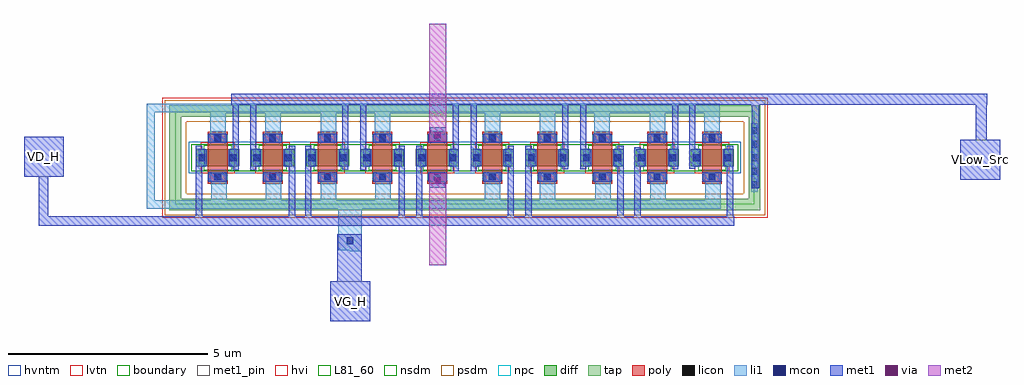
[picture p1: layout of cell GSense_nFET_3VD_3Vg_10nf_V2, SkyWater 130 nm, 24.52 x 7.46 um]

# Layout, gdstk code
import gdstk
lib = gdstk.Library(unit=1e-6, precision=1e-09)
def R(c, l, rs):  # rectangles x0, y0, x1, y1
    for r in rs: c.add(gdstk.rectangle(r[:2], r[2:], *l))
def A(c, l, x, y, w, h, nx, ny, dx, dy):  # array of equal rectangles
    R(c, l, [(x+i*dx, y+j*dy, x+i*dx+w, y+j*dy+h) for i in range(nx) for j in range(ny)])
diff = (65, 20)
tap = (65, 44)
poly = (66, 20)
licon = (66, 44)
li1 = (67, 20)
mcon = (67, 44)
met1_pin = (68, 16)
met1 = (68, 20)
via = (68, 44)
met2 = (69, 20)
hvi = (75, 20)
L81_60 = (81, 60)
nsdm = (93, 44)
psdm = (94, 20)
npc = (95, 20)
hvntm = (125, 20)
lvtn = (125, 44)
boundary = (235, 4)

sky130_fd_pr__nfet_03v3_ = lib.new_cell('sky130_fd_pr__nfet_03v3_nvt_J2JJF2')
A(sky130_fd_pr__nfet_03v3_, diff, -6.75, -0.21, 1.08, 0.42, 10, 1, 1.38, 0)
R(sky130_fd_pr__nfet_03v3_, tap, [(-7.42,-1.32,7.42,-1.03), (-7.42,-1.03,-7.13,1.03), (7.13,-1.03,7.42,1.03), (-7.42,1.03,7.42,1.32)])
A(sky130_fd_pr__nfet_03v3_, poly, -6.46, -0.65, 0.5, 1.3, 10, 1, 1.38, 0)
A(sky130_fd_pr__nfet_03v3_, licon, 7.19, -0.765, 0.17, 0.17, 1, 5, 0, 0.34)
A(sky130_fd_pr__nfet_03v3_, licon, -6.295, -0.57, 0.17, 0.17, 10, 2, 1.38, 0.97)
R(sky130_fd_pr__nfet_03v3_, licon, [(-6.69,-0.085,-6.52,0.085), (-5.9,-0.085,-5.73,0.085), (-5.31,-0.085,-5.14,0.085), (-4.52,-0.085,-4.35,0.085), (-3.93,-0.085,-3.76,0.085), (-3.14,-0.085,-2.97,0.085), (-2.55,-0.085,-2.38,0.085), (-1.76,-0.085,-1.59,0.085), (-1.17,-0.085,-1,0.085), (-0.38,-0.085,-0.21,0.085), (0.21,-0.085,0.38,0.085), (1,-0.085,1.17,0.085), (1.59,-0.085,1.76,0.085), (2.38,-0.085,2.55,0.085), (2.97,-0.085,3.14,0.085), (3.76,-0.085,3.93,0.085), (4.35,-0.085,4.52,0.085), (5.14,-0.085,5.31,0.085), (5.73,-0.085,5.9,0.085), (6.52,-0.085,6.69,0.085)])
A(sky130_fd_pr__nfet_03v3_, li1, -6.46, -0.57, 0.5, 0.17, 10, 2, 1.38, 0.97)
R(sky130_fd_pr__nfet_03v3_, li1, [(7.19,-0.86,7.36,0.86), (-6.69,-0.23,-6.52,0.23), (-5.9,-0.23,-5.73,0.23), (-5.31,-0.23,-5.14,0.23), (-4.52,-0.23,-4.35,0.23), (-3.93,-0.23,-3.76,0.23), (-3.14,-0.23,-2.97,0.23), (-2.55,-0.23,-2.38,0.23), (-1.76,-0.23,-1.59,0.23), (-1.17,-0.23,-1,0.23), (-0.38,-0.23,-0.21,0.23), (0.21,-0.23,0.38,0.23), (1,-0.23,1.17,0.23), (1.59,-0.23,1.76,0.23), (2.38,-0.23,2.55,0.23), (2.97,-0.23,3.14,0.23), (3.76,-0.23,3.93,0.23), (4.35,-0.23,4.52,0.23), (5.14,-0.23,5.31,0.23), (5.73,-0.23,5.9,0.23), (6.52,-0.23,6.69,0.23)])
A(sky130_fd_pr__nfet_03v3_, mcon, -6.295, -0.57, 0.17, 0.17, 10, 2, 1.38, 0.97)
R(sky130_fd_pr__nfet_03v3_, mcon, [(-6.69,-0.085,-6.52,0.085), (-5.9,-0.085,-5.73,0.085), (-5.31,-0.085,-5.14,0.085), (-4.52,-0.085,-4.35,0.085), (-3.93,-0.085,-3.76,0.085), (-3.14,-0.085,-2.97,0.085), (-2.55,-0.085,-2.38,0.085), (-1.76,-0.085,-1.59,0.085), (-1.17,-0.085,-1,0.085), (-0.38,-0.085,-0.21,0.085), (0.21,-0.085,0.38,0.085), (1,-0.085,1.17,0.085), (1.59,-0.085,1.76,0.085), (2.38,-0.085,2.55,0.085), (2.97,-0.085,3.14,0.085), (3.76,-0.085,3.93,0.085), (4.35,-0.085,4.52,0.085), (5.14,-0.085,5.31,0.085), (5.73,-0.085,5.9,0.085), (6.52,-0.085,6.69,0.085)])
A(sky130_fd_pr__nfet_03v3_, met1, -6.44, -0.6, 0.46, 0.23, 10, 2, 1.38, 0.97)
R(sky130_fd_pr__nfet_03v3_, met1, [(-6.72,-0.21,-6.49,0.21), (-5.93,-0.21,-5.7,0.21), (-5.34,-0.21,-5.11,0.21), (-4.55,-0.21,-4.32,0.21), (-3.96,-0.21,-3.73,0.21), (-3.17,-0.21,-2.94,0.21), (-2.58,-0.21,-2.35,0.21), (-1.79,-0.21,-1.56,0.21), (-1.2,-0.21,-0.97,0.21), (-0.41,-0.21,-0.18,0.21), (0.18,-0.21,0.41,0.21), (0.97,-0.21,1.2,0.21), (1.56,-0.21,1.79,0.21), (2.35,-0.21,2.58,0.21), (2.94,-0.21,3.17,0.21), (3.73,-0.21,3.96,0.21), (4.32,-0.21,4.55,0.21), (5.11,-0.21,5.34,0.21), (5.7,-0.21,5.93,0.21), (6.49,-0.21,6.72,0.21)])
R(sky130_fd_pr__nfet_03v3_, hvi, [(-7.605,-1.505,7.605,1.505)])
A(sky130_fd_pr__nfet_03v3_, L81_60, -6.56, -0.31, 0.7, 0.62, 10, 1, 1.38, 0)
R(sky130_fd_pr__nfet_03v3_, nsdm, [(-6.875,-0.335,6.875,0.335)])
R(sky130_fd_pr__nfet_03v3_, psdm, [(-7.545,-1.445,7.545,-0.905), (-7.545,-0.905,-7.005,0.905), (7.005,-0.905,7.545,0.905), (-7.545,0.905,7.545,1.445)])
A(sky130_fd_pr__nfet_03v3_, npc, -6.395, -0.67, 0.37, 0.37, 10, 2, 1.38, 0.97)
R(sky130_fd_pr__nfet_03v3_, hvntm, [(-6.935,-0.395,6.935,0.395)])
A(sky130_fd_pr__nfet_03v3_, lvtn, -6.64, -0.39, 0.86, 0.78, 10, 1, 1.38, 0)
R(sky130_fd_pr__nfet_03v3_, boundary, [(-7.27,-1.17,7.27,1.17)])

gsense_nfet_3vd_3vg_10nf = lib.new_cell('GSense_nFET_3VD_3Vg_10nf_V2')
A(gsense_nfet_3vd_3vg_10nf, li1, 0.25, -4.55, 0.39, 0.68, 3, 1, 4.13, 0)
R(gsense_nfet_3vd_3vg_10nf, li1, [(3.74,-5.83,4.03,-5.8), (3.45,-5.8,4.03,-4.76), (-1.37,-4.76,13.06,-4.55), (-1.37,-4.55,-1.16,-2.335), (1.62,-4.55,2.01,-3.89), (3,-4.55,3.39,-3.89), (7.12,-4.55,7.51,-3.86), (9.9,-4.55,10.29,-3.86), (11.28,-4.55,11.67,-3.86), (12.66,-4.55,13.05,-3.85), (5.76,-4.08,6.15,-3.87), (1.61,-3.09,2,-2.36), (8.51,-3.09,8.9,-2.36), (9.88,-3.09,10.27,-2.36), (12.64,-3.09,13.03,-2.36), (0.23,-3.08,0.62,-2.36), (3,-3.08,3.39,-2.36), (4.36,-3.08,4.75,-2.36), (5.77,-3.08,6.16,-2.87), (7.13,-3.08,7.52,-2.36), (11.27,-3.08,11.66,-2.36), (0.23,-2.36,13.03,-2.335), (-1.37,-2.335,13.03,-2.18), (-1.37,-2.18,13.025,-2.125)])
R(gsense_nfet_3vd_3vg_10nf, mcon, [(3.655,-5.645,3.825,-5.475)])
R(gsense_nfet_3vd_3vg_10nf, met1_pin, [(3.25,-7.58,4.25,-6.58), (19.07,-4.03,20.07,-3.03), (-4.45,-3.95,-3.45,-2.95)])
R(gsense_nfet_3vd_3vg_10nf, met1, [(3.25,-7.58,4.25,-6.58), (3.42,-6.58,4.03,-5.4), (10.88,-5.19,11.04,-5.18), (-4.075,-5.18,13.39,-4.95), (-4.075,-4.95,-3.845,-3.95), (-0.13,-4.95,0.03,-3.18), (2.2,-4.95,2.36,-3.17), (2.61,-4.95,2.77,-3.17), (4.96,-4.95,5.12,-3.17), (5.4,-4.95,5.56,-3.18), (7.7,-4.95,7.86,-3.17), (8.14,-4.95,8.3,-3.18), (10.46,-4.95,10.62,-3.17), (10.88,-4.95,11.04,-3.21), (13.21,-4.95,13.37,-3.17), (13.83,-4.24,14.02,-2.14), (5.73,-4.23,6.13,-3.84), (19.07,-4.03,20.07,-3.03), (-4.45,-3.95,-3.45,-2.95), (6.77,-3.82,6.92,-2.14), (6.32,-3.81,6.47,-2.14), (0.79,-3.79,0.94,-2.14), (1.24,-3.79,1.39,-2.14), (4,-3.79,4.15,-2.14), (3.55,-3.78,3.7,-2.14), (9.07,-3.76,9.22,-2.14), (9.52,-3.76,9.67,-2.14), (11.84,-3.76,11.99,-2.14), (12.26,-3.75,12.41,-2.14), (5.76,-3.1,6.16,-2.71), (19.465,-3.03,19.735,-2.14), (0.76,-2.14,19.75,-1.87)])
R(gsense_nfet_3vd_3vg_10nf, via, [(5.865,-4.125,6.015,-3.975), (5.865,-2.975,6.015,-2.825)])
R(gsense_nfet_3vd_3vg_10nf, met2, [(5.73,-6.175,6.16,-3.87), (5.73,-3.08,6.16,-0.115)])
gsense_nfet_3vd_3vg_10nf.add(gdstk.Reference(sky130_fd_pr__nfet_03v3_, (6.625,-3.475)))
gsense_nfet_3vd_3vg_10nf.add(gdstk.Label('VG_H', (3.75,-7.08), layer=68, texttype=5))
gsense_nfet_3vd_3vg_10nf.add(gdstk.Label('VD_H', (-3.95,-3.45), layer=68, texttype=5))
gsense_nfet_3vd_3vg_10nf.add(gdstk.Label('VLow_Src', (19.57,-3.53), layer=68, texttype=5))

lib.write_gds('GSense_nFET_3VD_3Vg_10nf_V2.gds')
